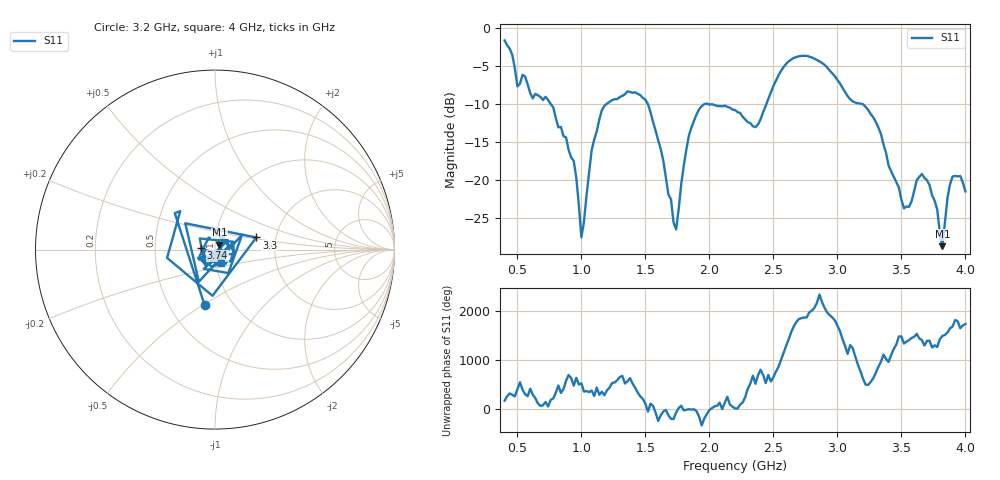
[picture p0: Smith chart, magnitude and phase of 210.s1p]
!Created with skrf (http://scikit-rf.org).
# Hz S RI R 50.0
!freq ReS11 ImS11
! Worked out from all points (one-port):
!   181 points, 400 MHz to 4 GHz, reference 50 ohm
!   lowest |S11| = -28.8 dB at 3.82 GHz (marker M1), VSWR 1.08, Z = 52.4 + j2.87 ohm
!   |S11| at or under -10 dB: 1.519 GHz to 1.969 GHz (450.3 MHz wide, 25.8 % of centre); 1.987 GHz to 2.446 GHz (459.5 MHz wide, 20.7 % of centre); 3.189 GHz to end of sweep (the widest 3 of 4)
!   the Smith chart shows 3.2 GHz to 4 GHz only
!   S11 on the Smith chart (normalised r, x): 3.2 GHz: 0.74, -0.51; 3.3 GHz: 1.58, +0.23; 3.74 GHz: 0.85, +0.02; 4 GHz: 1.06, -0.16
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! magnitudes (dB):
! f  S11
! 400 MHz  -1.6
! 500 MHz  -7.7
! 720 MHz  -9.1
! 860 MHz  -14.3
! 940 MHz  -17.5
! 1 GHz  -27.6
! 1.08 GHz  -16.1
! 1.16 GHz  -10.8
! 1.3 GHz  -9.1
! 1.52 GHz  -10.0
! 1.72 GHz  -25.7
! 1.76 GHz  -23.9
! 1.84 GHz  -14.2
! 1.92 GHz  -10.7
! 2.2 GHz  -10.8
! 2.36 GHz  -13.1
! 2.66 GHz  -3.9
! 2.88 GHz  -4.6
! 3.1 GHz  -9.4
! 3.2 GHz  -10.0
! 3.3 GHz  -12.4
! 3.52 GHz  -23.8
! 3.56 GHz  -23.6
! 3.66 GHz  -19.3
! 3.74 GHz  -22.1
! 3.82 GHz  -28.8
! 3.9 GHz  -19.6
! 4 GHz  -21.6
